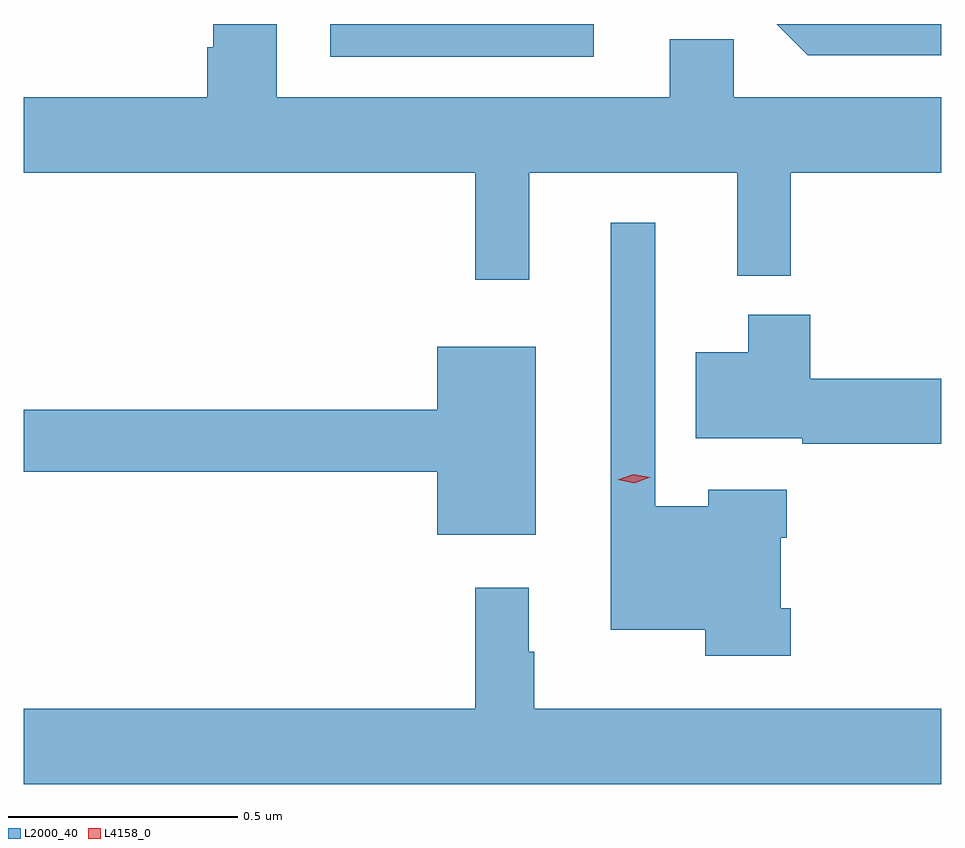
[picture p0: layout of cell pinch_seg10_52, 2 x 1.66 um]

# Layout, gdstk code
import gdstk
lib = gdstk.Library(unit=1e-6, precision=1e-09)
def R(c, l, rs):  # rectangles x0, y0, x1, y1
    for r in rs: c.add(gdstk.rectangle(r[:2], r[2:], *l))
def P(c, l, *ps):  # polygons
    for p in ps: c.add(gdstk.Polygon(p, *l))
L2000_40 = (2000, 40)
L4158_0 = (4158, 0)

pinch_seg10_52 = lib.new_cell('pinch_seg10_52')
R(pinch_seg10_52, L2000_40, [(854.877,1291.245,855.451,1291.316)])
P(pinch_seg10_52, L2000_40, [(855.311,1290.992),(855.764,1290.992),(855.764,1290.767),(855.881,1290.767),(855.881,1290.992),(856.209,1290.992),(856.209,1291.156),(855.756,1291.156),(855.756,1291.283),(855.617,1291.283),(855.617,1291.156),(854.761,1291.156),(854.761,1291.316),(854.622,1291.316),(854.622,1291.265),(854.609,1291.265),(854.609,1291.156),(854.209,1291.156),(854.209,1290.992),(855.193,1290.992),(855.193,1290.759),(855.311,1290.759)],
  [(856.209,1291.316),(855.85,1291.316),(855.918,1291.248),(856.209,1291.248)],
  [(855.881,1290.043),(855.859,1290.043),(855.859,1290.197),(855.872,1290.197),(855.872,1290.301),(855.701,1290.301),(855.701,1290.265),(855.585,1290.265),(855.585,1290.883),(855.488,1290.883),(855.488,1289.996),(855.694,1289.996),(855.694,1289.939),(855.881,1289.939)],
  [(856.209,1290.543),(855.923,1290.543),(855.923,1290.682),(855.788,1290.682),(855.788,1290.601),(855.674,1290.601),(855.674,1290.413),(855.906,1290.413),(855.906,1290.401),(856.209,1290.401)],
  [(855.325,1290.613),(855.11,1290.613),(855.11,1290.476),(854.209,1290.476),(854.209,1290.34),(855.11,1290.34),(855.11,1290.203),(855.325,1290.203)],
  [(856.209,1289.824),(855.322,1289.824),(855.322,1289.948),(855.31,1289.948),(855.31,1290.088),(855.193,1290.088),(855.193,1289.824),(854.209,1289.824),(854.209,1289.66),(856.209,1289.66)])
P(pinch_seg10_52, L4158_0, [(855.54,1290.315),(855.504,1290.323),(855.503,1290.323),(855.504,1290.323),(855.538,1290.335),(855.575,1290.328),(855.575,1290.328),(855.575,1290.328)])

lib.write_gds('pinch_seg10_52.gds')
